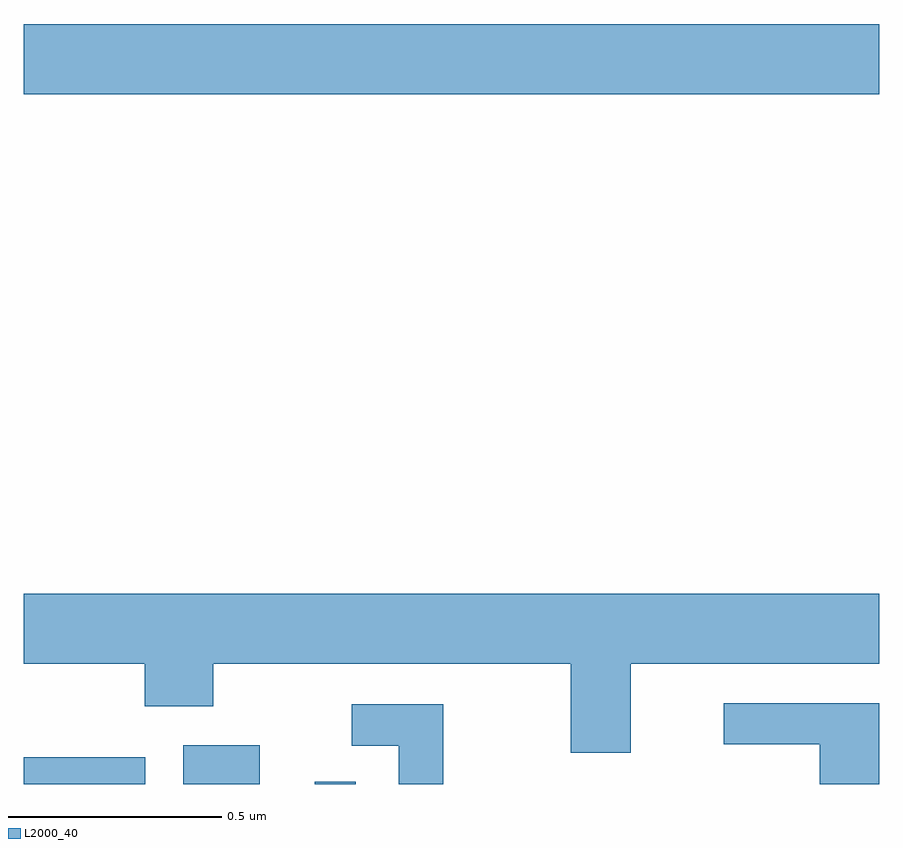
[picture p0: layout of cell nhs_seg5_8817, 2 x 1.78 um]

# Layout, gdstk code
import gdstk
lib = gdstk.Library(unit=1e-6, precision=1e-09)
def R(c, l, rs):  # rectangles x0, y0, x1, y1
    for r in rs: c.add(gdstk.rectangle(r[:2], r[2:], *l))
def P(c, l, *ps):  # polygons
    for p in ps: c.add(gdstk.Polygon(p, *l))
L2000_40 = (2000, 40)

nhs_seg5_8817 = lib.new_cell('nhs_seg5_8817')
R(nhs_seg5_8817, L2000_40, [(226,869.799,226.284,869.862), (226.373,869.799,226.552,869.89), (226.68,869.799,226.776,869.804), (226,871.412,228,871.576)])
P(nhs_seg5_8817, L2000_40, [(227.419,870.08),(228,870.08),(228,870.244),(226,870.244),(226,870.08),(226.283,870.08),(226.283,869.981),(226.443,869.981),(226.443,870.08),(227.279,870.08),(227.279,869.872),(227.419,869.872)],
  [(228,869.988),(227.637,869.988),(227.637,869.892),(227.861,869.892),(227.861,869.799),(228,869.799)],
  [(226.981,869.985),(226.767,869.985),(226.767,869.889),(226.877,869.889),(226.877,869.799),(226.981,869.799)])

lib.write_gds('nhs_seg5_8817.gds')
